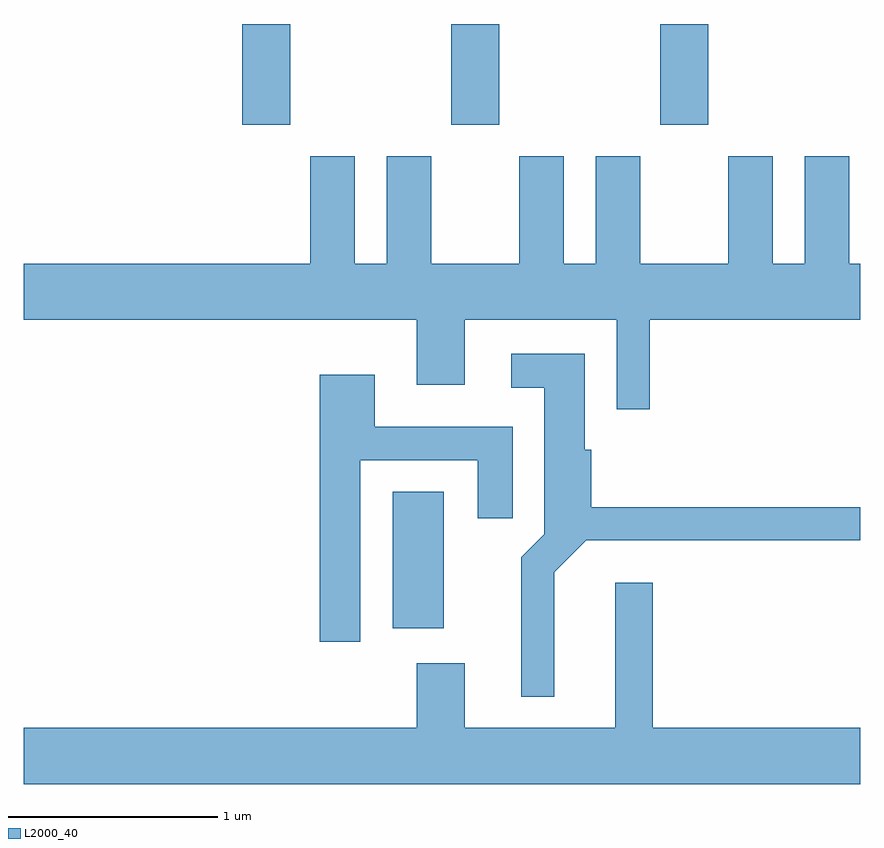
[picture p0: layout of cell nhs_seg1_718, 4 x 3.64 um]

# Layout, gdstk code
import gdstk
lib = gdstk.Library(unit=1e-6, precision=1e-09)
def R(c, l, rs):  # rectangles x0, y0, x1, y1
    for r in rs: c.add(gdstk.rectangle(r[:2], r[2:], *l))
def A(c, l, x, y, w, h, nx, ny, dx, dy):  # array of equal rectangles
    R(c, l, [(x+i*dx, y+j*dy, x+i*dx+w, y+j*dy+h) for i in range(nx) for j in range(ny)])
def P(c, l, *ps):  # polygons
    for p in ps: c.add(gdstk.Polygon(p, *l))
L2000_40 = (2000, 40)

nhs_seg1_718 = lib.new_cell('nhs_seg1_718')
A(nhs_seg1_718, L2000_40, 208.656, 847.231, 0.228, 0.481, 3, 1, 1, 0)
R(nhs_seg1_718, L2000_40, [(209.376,844.821,209.619,845.474)])
P(nhs_seg1_718, L2000_40, [(210.604,846.296),(211.611,846.296),(211.611,846.564),(211.559,846.564),(211.559,847.079),(211.346,847.079),(211.346,846.564),(211.194,846.564),(211.194,847.079),(210.981,847.079),(210.981,846.564),(210.559,846.564),(210.559,847.079),(210.346,847.079),(210.346,846.564),(210.194,846.564),(210.194,847.079),(209.981,847.079),(209.981,846.564),(209.559,846.564),(209.559,847.079),(209.346,847.079),(209.346,846.564),(209.194,846.564),(209.194,847.079),(208.981,847.079),(208.981,846.564),(207.611,846.564),(207.611,846.296),(209.491,846.296),(209.491,845.986),(209.719,845.986),(209.719,846.296),(210.446,846.296),(210.446,845.868),(210.604,845.868)],
  [(210.149,845.089),(210.302,845.241),(211.611,845.241),(211.611,845.399),(210.324,845.399),(210.324,845.674),(210.294,845.674),(210.294,846.134),(209.943,846.134),(209.943,845.971),(210.101,845.971),(210.101,845.272),(209.991,845.162),(209.991,844.493),(210.149,844.493)],
  [(209.219,845.626),(209.781,845.626),(209.781,845.348),(209.949,845.348),(209.949,845.784),(209.289,845.784),(209.289,846.034),(209.026,846.034),(209.026,844.756),(209.219,844.756)],
  [(211.611,844.344),(210.619,844.344),(210.619,845.039),(210.441,845.039),(210.441,844.344),(209.719,844.344),(209.719,844.654),(209.491,844.654),(209.491,844.344),(207.611,844.344),(207.611,844.076),(211.611,844.076)])

lib.write_gds('nhs_seg1_718.gds')
